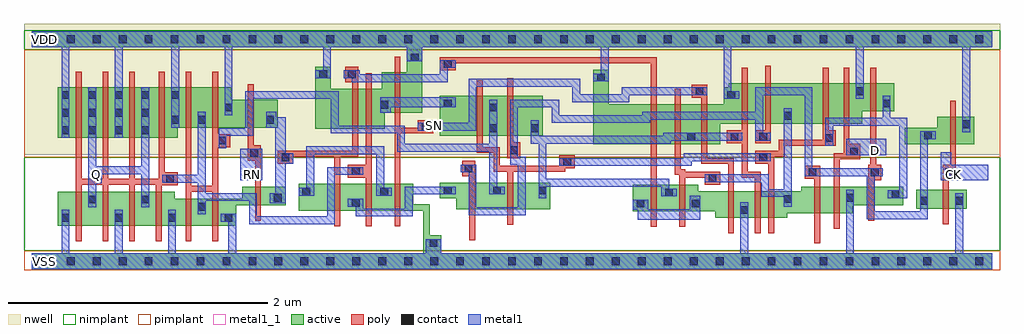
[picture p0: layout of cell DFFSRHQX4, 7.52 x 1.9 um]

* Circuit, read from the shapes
.subckt DFFSRHQX4 CK D Q RN SN VDD VSS
M1 Q n1 VSS VSS nfet w=0.26u l=0.045u m=4
M2 n1 n2 VSS VSS nfet w=0.205u l=0.045u m=2
M3 n3 RN VSS VSS nfet w=0.145u l=0.045u
M4 n4 n3 n5 VSS nfet w=0.205u l=0.045u
M5 n5 n1 n4 VSS nfet w=0.205u l=0.045u
M6 VSS SN n5 VSS nfet w=0.205u l=0.045u
M7 n2 n6 n4 VSS nfet w=0.205u l=0.045u
M8 n7 n8 n2 VSS nfet w=0.205u l=0.045u
M9 n7 n3 n9 VSS nfet w=0.205u l=0.045u
M10 n9 n10 n7 VSS nfet w=0.205u l=0.045u
M11 VSS SN n9 VSS nfet w=0.205u l=0.045u
M12 n11 n7 VSS VSS nfet w=0.205u l=0.045u
M13 n10 n8 n11 VSS nfet w=0.205u l=0.045u
M14 n12 n6 n10 VSS nfet w=0.205u l=0.045u
M15 VSS D n12 VSS nfet w=0.205u l=0.045u
M16 n8 n6 VSS VSS nfet w=0.145u l=0.045u
M17 VSS CK n6 VSS nfet w=0.145u l=0.045u
M18 Q n1 VDD VDD pfet w=0.39u l=0.045u m=4
M19 n1 n2 VDD VDD pfet w=0.31u l=0.045u m=2
M20 n3 RN VDD VDD pfet w=0.215u l=0.045u
M21 n13 n3 VDD VDD pfet w=0.31u l=0.045u
M22 n14 n1 n13 VDD pfet w=0.31u l=0.045u
M23 VDD SN n14 VDD pfet w=0.31u l=0.045u
M24 n2 n8 n14 VDD pfet w=0.31u l=0.045u
M25 n7 n6 n2 VDD pfet w=0.31u l=0.045u
M26 n15 n3 VDD VDD pfet w=0.31u l=0.045u
M27 n7 n10 n15 VDD pfet w=0.31u l=0.045u
M28 VDD SN n7 VDD pfet w=0.31u l=0.045u
M29 n16 n7 VDD VDD pfet w=0.31u l=0.045u
M30 n10 n6 n16 VDD pfet w=0.31u l=0.045u
M31 n17 n8 n10 VDD pfet w=0.31u l=0.045u
M32 VDD D n17 VDD pfet w=0.31u l=0.045u
M33 n8 n6 VDD VDD pfet w=0.215u l=0.045u
M34 VDD CK n6 VDD pfet w=0.215u l=0.045u
.ends

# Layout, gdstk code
import gdstk
lib = gdstk.Library(unit=1e-6, precision=5e-10)
def R(c, l, rs):  # rectangles x0, y0, x1, y1
    for r in rs: c.add(gdstk.rectangle(r[:2], r[2:], *l))
def A(c, l, x, y, w, h, nx, ny, dx, dy):  # array of equal rectangles
    R(c, l, [(x+i*dx, y+j*dy, x+i*dx+w, y+j*dy+h) for i in range(nx) for j in range(ny)])
def P(c, l, *ps):  # polygons
    for p in ps: c.add(gdstk.Polygon(p, *l))
active = (1, 0)
nwell = (2, 0)
poly = (3, 0)
nimplant = (4, 0)
pimplant = (5, 0)
contact = (6, 0)
metal1 = (7, 0)
metal1_1 = (7, 1)

dffsrhqx4 = lib.new_cell('DFFSRHQX4')
R(dffsrhqx4, active, [(6.815,0.405,7.205,0.55), (3.145,0.965,3.935,1.275)])
P(dffsrhqx4, active, [(0,1.77),(7.4,1.77),(7.4,1.65),(3.01,1.65),(3.01,1.145),(2.72,1.145),(2.72,1.02),(2.185,1.02),(2.185,1.5),(2.305,1.5),(2.305,1.33),(2.695,1.33),(2.695,1.455),(2.89,1.455),(2.89,1.65),(0,1.65)],
  [(0.2,1.34),(1.535,1.34),(1.535,1.245),(1.895,1.245),(1.895,1.03),(1.125,1.03),(1.125,0.95),(0.2,0.95)],
  [(4.325,1.475),(4.445,1.475),(4.445,1.21),(5.33,1.21),(5.33,1.34),(5.37,1.34),(5.37,1.37),(6.645,1.37),(6.645,1.155),(6.4,1.155),(6.4,1.06),(5.305,1.06),(5.305,0.9),(4.325,0.9)],
  [(6.975,1.115),(7.26,1.115),(7.26,0.9),(6.725,0.9),(6.725,1.03),(6.975,1.03)],
  [(0.2,0.535),(1.1,0.535),(1.1,0.48),(1.62,0.48),(1.62,0.575),(1.955,0.575),(1.955,0.43),(1.575,0.43),(1.575,0.275),(0.2,0.275)],
  [(2.055,0.595),(2.94,0.595),(2.94,0.44),(3.065,0.44),(3.065,0.2),(3.155,0.2),(3.155,0.06),(7.4,0.06),(7.4,-0.06),(0,-0.06),(0,0.06),(3.015,0.06),(3.015,0.39),(2.055,0.39)],
  [(3.145,0.605),(3.995,0.605),(3.995,0.4),(3.27,0.4),(3.27,0.485),(3.145,0.485)],
  [(4.63,0.59),(5.135,0.59),(5.135,0.54),(5.93,0.54),(5.93,0.575),(6.715,0.575),(6.715,0.43),(6.325,0.43),(6.325,0.37),(5.82,0.37),(5.82,0.335),(5.265,0.335),(5.265,0.385),(4.63,0.385)])
R(dffsrhqx4, nwell, [(-0.06,0.82,7.46,1.83)])
P(dffsrhqx4, poly, [(2.415,1.5),(2.515,1.5),(2.515,0.805),(2.375,0.805),(2.375,0.27),(2.33,0.27),(2.33,0.805),(2.015,0.805),(2.015,0.75),(1.895,0.75),(1.895,0.85),(2.47,0.85),(2.47,1.38),(2.415,1.38)],
  [(0.34,1.46),(0.385,1.46),(0.385,0.635),(0.545,0.635),(0.545,1.46),(0.59,1.46),(0.59,0.635),(0.75,0.635),(0.75,1.46),(0.795,1.46),(0.795,0.635),(0.98,0.635),(0.98,1.46),(1.025,1.46),(1.025,0.685),(1.125,0.685),(1.125,0.585),(1,0.585),(1,0.155),(0.955,0.155),(0.955,0.59),(0.795,0.59),(0.795,0.155),(0.75,0.155),(0.75,0.59),(0.59,0.59),(0.59,0.155),(0.545,0.155),(0.545,0.59),(0.385,0.59),(0.385,0.155),(0.34,0.155)],
  [(1.185,1.46),(1.23,1.46),(1.23,0.58),(1.39,0.58),(1.39,1.46),(1.435,1.46),(1.435,0.98),(1.53,0.98),(1.53,0.88),(1.435,0.88),(1.435,0.155),(1.39,0.155),(1.39,0.535),(1.23,0.535),(1.23,0.155),(1.185,0.155)],
  [(2.795,1.575),(2.84,1.575),(2.84,1.03),(2.975,1.03),(2.975,1.085),(3.095,1.085),(3.095,0.985),(2.84,0.985),(2.84,0.27),(2.795,0.27)],
  [(3.145,1.57),(4.815,1.57),(4.815,0.265),(4.77,0.265),(4.77,1.525),(3.265,1.525),(3.265,1.47),(3.145,1.47)],
  [(1.665,1.365),(1.71,1.365),(1.71,0.895),(1.765,0.895),(1.765,0.31),(1.72,0.31),(1.72,0.775),(1.665,0.775)],
  [(2.575,1.45),(2.62,1.45),(2.62,0.27),(2.575,0.27),(2.575,0.645),(2.435,0.645),(2.435,0.745),(2.575,0.745)],
  [(5.085,1.36),(5.205,1.36),(5.205,0.795),(5.41,0.795),(5.41,0.215),(5.365,0.215),(5.365,0.75),(5.16,0.75),(5.16,1.26),(5.085,1.26)],
  [(3.43,1.395),(3.475,1.395),(3.475,0.88),(3.605,0.88),(3.605,0.735),(4.065,0.735),(4.065,0.815),(4.185,0.815),(4.185,0.715),(4.11,0.715),(4.11,0.69),(3.71,0.69),(3.71,0.28),(3.665,0.28),(3.665,0.69),(3.56,0.69),(3.56,0.835),(3.43,0.835)],
  [(3.665,1.41),(3.71,1.41),(3.71,0.915),(3.765,0.915),(3.765,0.795),(3.665,0.795)],
  [(4.955,1.33),(5,1.33),(5,0.71),(5.035,0.71),(5.035,0.69),(5.305,0.69),(5.305,0.59),(5.185,0.59),(5.185,0.645),(5.035,0.645),(5.035,0.265),(4.99,0.265),(4.99,0.665),(4.955,0.665)],
  [(5.47,1.49),(5.515,1.49),(5.515,0.69),(5.615,0.69),(5.615,0.215),(5.57,0.215),(5.57,0.645),(5.47,0.645),(5.47,0.91),(5.355,0.91),(5.355,1.01),(5.47,1.01)],
  [(5.65,1.505),(5.695,1.505),(5.695,0.91),(5.575,0.91),(5.575,1.01),(5.65,1.01)],
  [(6.095,1.49),(6.14,1.49),(6.14,1.01),(6.195,1.01),(6.195,0.89),(5.8,0.89),(5.8,0.805),(5.72,0.805),(5.72,0.215),(5.675,0.215),(5.675,0.75),(5.575,0.75),(5.575,0.85),(5.755,0.85),(5.755,0.935),(6.095,0.935)],
  [(6.255,1.49),(6.3,1.49),(6.3,0.905),(6.385,0.905),(6.385,0.785),(6.225,0.785),(6.225,0.25),(6.18,0.25),(6.18,0.83),(6.255,0.83)],
  [(6.46,1.49),(6.505,1.49),(6.505,0.745),(6.545,0.745),(6.545,0.625),(6.49,0.625),(6.49,0.31),(6.445,0.31),(6.445,0.745),(6.46,0.745)],
  [(7.075,1.235),(7.12,1.235),(7.12,0.625),(7.065,0.625),(7.065,0.285),(7.02,0.285),(7.02,0.745),(7.075,0.745)],
  [(3.315,0.775),(3.415,0.775),(3.415,0.16),(3.37,0.16),(3.37,0.655),(3.315,0.655)],
  [(5.955,0.735),(6.075,0.735),(6.075,0.14),(6.03,0.14),(6.03,0.635),(5.955,0.635)])
R(dffsrhqx4, nimplant, [(-0.06,0.08,7.46,0.8), (-0.06,1.63,7.46,1.78)])
R(dffsrhqx4, pimplant, [(-0.06,-0.07,7.46,0.08), (-0.06,0.8,7.46,1.63)])
A(dffsrhqx4, contact, 0.07, -0.03, 0.06, 0.06, 37, 2, 0.2, 1.71)
A(dffsrhqx4, contact, 0.23, 0.305, 0.06, 0.06, 3, 1, 0.41, 0)
A(dffsrhqx4, contact, 0.23, 0.98, 0.06, 0.06, 4, 3, 0.205, 0.135)
R(dffsrhqx4, contact, [(3.065,0.11,3.125,0.17), (1.485,0.305,1.545,0.365), (5.46,0.365,5.52,0.425), (1.28,0.39,1.34,0.45), (4.66,0.415,4.72,0.475), (5.085,0.415,5.145,0.475), (2.465,0.42,2.525,0.48), (6.845,0.435,6.905,0.495), (7.115,0.435,7.175,0.495), (0.435,0.445,0.495,0.505), (0.845,0.445,0.905,0.505), (5.795,0.45,5.855,0.51), (1.865,0.46,1.925,0.52), (6.275,0.46,6.335,0.52), (6.625,0.485,6.685,0.545), (4.88,0.5,4.94,0.56), (2.085,0.505,2.145,0.565), (2.685,0.505,2.745,0.565), (3.175,0.515,3.235,0.575), (3.555,0.515,3.615,0.575), (3.905,0.515,3.965,0.575), (1.035,0.605,1.095,0.665), (5.215,0.61,5.275,0.67), (5.985,0.655,6.045,0.715), (6.465,0.655,6.525,0.715), (7.04,0.655,7.1,0.715), (2.465,0.665,2.525,0.725), (3.335,0.685,3.395,0.745), (4.095,0.735,4.155,0.795), (1.925,0.77,1.985,0.83), (5.605,0.77,5.665,0.83), (1.685,0.805,1.745,0.865), (6.305,0.815,6.365,0.875), (3.685,0.825,3.745,0.885), (1.44,0.9,1.5,0.96), (6.115,0.92,6.175,0.98), (5.05,0.93,5.11,0.99), (5.385,0.93,5.445,0.99), (5.605,0.93,5.665,0.99), (6.875,0.94,6.935,1), (3.525,0.995,3.585,1.055), (3.845,0.995,3.905,1.055), (3.005,1.005,3.065,1.065), (7.17,1.025,7.23,1.085), (1.075,1.06,1.135,1.12), (1.28,1.06,1.34,1.12), (1.805,1.06,1.865,1.12), (5.795,1.09,5.855,1.15), (1.485,1.155,1.545,1.215), (3.525,1.155,3.585,1.215), (2.685,1.175,2.745,1.235), (3.175,1.185,3.235,1.245), (6.555,1.185,6.615,1.245), (1.075,1.25,1.135,1.31), (5.36,1.25,5.42,1.31), (5.115,1.28,5.175,1.34), (6.35,1.28,6.41,1.34), (4.355,1.385,4.415,1.445), (2.215,1.41,2.275,1.47), (2.435,1.41,2.495,1.47), (3.175,1.49,3.235,1.55), (2.92,1.54,2.98,1.6)])
R(dffsrhqx4, metal1, [(1.605,0.625,1.775,0.865), (6.275,0.815,6.585,0.945)])
P(dffsrhqx4, metal1, [(0,1.77),(7.4,1.77),(7.4,1.65),(7.23,1.65),(7.23,0.995),(7.17,0.995),(7.17,1.65),(6.41,1.65),(6.41,1.25),(6.35,1.25),(6.35,1.65),(5.39,1.65),(5.39,1.31),(5.45,1.31),(5.45,1.25),(5.33,1.25),(5.33,1.65),(4.445,1.65),(4.445,1.385),(4.325,1.385),(4.325,1.445),(4.385,1.445),(4.385,1.65),(3.01,1.65),(3.01,1.54),(2.89,1.54),(2.89,1.65),(2.305,1.65),(2.305,1.41),(2.185,1.41),(2.185,1.47),(2.245,1.47),(2.245,1.65),(1.545,1.65),(1.545,1.125),(1.485,1.125),(1.485,1.65),(1.135,1.65),(1.135,1.03),(1.075,1.03),(1.075,1.65),(0.7,1.65),(0.7,0.95),(0.64,0.95),(0.64,1.65),(0.29,1.65),(0.29,0.95),(0.23,0.95),(0.23,1.65),(0,1.65)],
  [(0.435,1.34),(0.495,1.34),(0.495,0.73),(0.845,0.73),(0.845,1.34),(0.905,1.34),(0.905,0.415),(0.845,0.415),(0.845,0.67),(0.54,0.67),(0.54,0.6),(0.495,0.6),(0.495,0.415),(0.435,0.415)],
  [(1.28,1.15),(1.34,1.15),(1.34,0.525),(1.735,0.525),(1.735,0.345),(2.275,0.345),(2.275,0.725),(2.555,0.725),(2.555,0.665),(2.335,0.665),(2.335,0.285),(1.675,0.285),(1.675,0.465),(1.34,0.465),(1.34,0.36),(1.28,0.36),(1.28,0.605),(1.005,0.605),(1.005,0.665),(1.28,0.665)],
  [(3.145,1.55),(3.265,1.55),(3.265,1.49),(3.205,1.49),(3.205,1.38),(2.465,1.38),(2.465,1.41),(2.405,1.41),(2.405,1.47),(2.525,1.47),(2.525,1.44),(3.145,1.44)],
  [(3.365,1.405),(4.225,1.405),(4.225,1.285),(4.545,1.285),(4.545,1.34),(5.205,1.34),(5.205,1.28),(4.605,1.28),(4.605,1.225),(4.165,1.225),(4.165,1.345),(3.425,1.345),(3.425,1.005),(2.975,1.005),(2.975,1.065),(3.035,1.065),(3.035,1.085),(3.165,1.085),(3.165,1.065),(3.365,1.065)],
  [(1.645,1.31),(2.365,1.31),(2.365,1.045),(2.875,1.045),(2.875,0.905),(3.525,0.905),(3.525,1.245),(3.585,1.245),(3.585,0.575),(3.645,0.575),(3.645,0.515),(3.525,0.515),(3.525,0.845),(2.815,0.845),(2.815,0.985),(2.305,0.985),(2.305,1.25),(1.705,1.25),(1.705,0.965),(1.5,0.965),(1.5,0.87),(1.44,0.87),(1.44,1.025),(1.645,1.025)],
  [(1.805,1.15),(1.885,1.15),(1.885,1.11),(1.955,1.11),(1.955,0.83),(2.015,0.83),(2.015,0.75),(1.955,0.75),(1.955,0.445),(1.835,0.445),(1.835,0.525),(1.875,0.525),(1.875,1.03),(1.805,1.03)],
  [(2.685,1.265),(3.265,1.265),(3.265,1.185),(2.765,1.185),(2.765,1.145),(2.685,1.145)],
  [(0.23,0.395),(0.29,0.395),(0.29,0.06),(0.64,0.06),(0.64,0.395),(0.7,0.395),(0.7,0.06),(1.05,0.06),(1.05,0.395),(1.11,0.395),(1.11,0.06),(1.515,0.06),(1.515,0.305),(1.455,0.305),(1.455,0.365),(1.575,0.365),(1.575,0.06),(3.035,0.06),(3.035,0.17),(3.155,0.17),(3.155,0.06),(5.46,0.06),(5.46,0.455),(5.52,0.455),(5.52,0.06),(6.275,0.06),(6.275,0.55),(6.335,0.55),(6.335,0.06),(7.115,0.06),(7.115,0.525),(7.175,0.525),(7.175,0.06),(7.4,0.06),(7.4,-0.06),(0,-0.06),(0,0.06),(0.23,0.06)],
  [(2.115,0.885),(2.715,0.885),(2.715,0.565),(2.775,0.565),(2.775,0.505),(2.655,0.505),(2.655,0.825),(2.175,0.825),(2.175,0.505),(2.055,0.505),(2.055,0.565),(2.115,0.565)],
  [(5.575,1.34),(6.015,1.34),(6.015,0.715),(6.555,0.715),(6.555,0.655),(6.495,0.655),(6.495,0.385),(6.845,0.385),(6.845,1),(6.965,1),(6.965,0.94),(6.905,0.94),(6.905,0.325),(6.435,0.325),(6.435,0.655),(5.955,0.655),(5.955,1.28),(5.635,1.28),(5.635,0.99),(5.695,0.99),(5.695,0.93),(5.575,0.93),(5.575,1.09),(4.765,1.09),(4.765,1.065),(4.005,1.065),(4.005,1.185),(3.745,1.185),(3.745,0.805),(3.805,0.805),(3.805,0.355),(3.365,0.355),(3.365,0.685),(3.305,0.685),(3.305,0.745),(3.425,0.745),(3.425,0.415),(3.745,0.415),(3.745,0.745),(3.685,0.745),(3.685,1.245),(4.065,1.245),(4.065,1.125),(4.705,1.125),(4.705,1.15),(5.575,1.15)],
  [(2.875,0.575),(3.265,0.575),(3.265,0.515),(2.935,0.515),(2.935,0.345),(2.495,0.345),(2.495,0.42),(2.435,0.42),(2.435,0.48),(2.555,0.48),(2.555,0.405),(2.875,0.405)],
  [(3.845,1.085),(3.905,1.085),(3.905,0.965),(4.865,0.965),(4.865,0.99),(5.475,0.99),(5.475,0.93),(4.925,0.93),(4.925,0.905),(3.965,0.905),(3.965,0.635),(4.91,0.635),(4.91,0.56),(4.97,0.56),(4.97,0.5),(4.85,0.5),(4.85,0.575),(3.965,0.575),(3.965,0.485),(3.905,0.485),(3.905,0.905),(3.845,0.905)],
  [(5.185,0.67),(5.68,0.67),(5.68,0.555),(5.795,0.555),(5.795,1.18),(5.855,1.18),(5.855,0.42),(5.795,0.42),(5.795,0.495),(5.62,0.495),(5.62,0.61),(5.185,0.61)],
  [(5.025,0.83),(5.695,0.83),(5.695,0.77),(5.085,0.77),(5.085,0.735),(4.065,0.735),(4.065,0.795),(5.025,0.795)],
  [(6.555,1.275),(6.615,1.275),(6.615,1.105),(6.745,1.105),(6.745,0.485),(6.595,0.485),(6.595,0.545),(6.685,0.545),(6.685,1.045),(6.175,1.045),(6.175,0.89),(6.115,0.89),(6.115,1.105),(6.555,1.105)],
  [(4.63,0.475),(4.75,0.475),(4.75,0.4),(5.07,0.4),(5.07,0.505),(5.15,0.505),(5.15,0.32),(4.67,0.32),(4.67,0.395),(4.63,0.395)],
  [(7.005,0.84),(7.085,0.84),(7.085,0.745),(7.37,0.745),(7.37,0.625),(7.005,0.625)])
R(dffsrhqx4, metal1_1, [(0.06,-0.04,0.14,0.04), (0.46,0.625,0.54,0.705), (1.66,0.625,1.74,0.705), (7.06,0.625,7.14,0.705), (6.46,0.815,6.54,0.895), (3.06,1.005,3.14,1.085), (0.06,1.67,0.14,1.75)])
dffsrhqx4.add(gdstk.Label('SN', (3.1,1.045), layer=7, texttype=1))
dffsrhqx4.add(gdstk.Label('CK', (7.1,0.665), layer=7, texttype=1))
dffsrhqx4.add(gdstk.Label('D', (6.5,0.855), layer=7, texttype=1))
dffsrhqx4.add(gdstk.Label('RN', (1.7,0.665), layer=7, texttype=1))
dffsrhqx4.add(gdstk.Label('Q', (0.5,0.665), layer=7, texttype=1))
dffsrhqx4.add(gdstk.Label('VDD', (0.1,1.71), layer=7, texttype=1))
dffsrhqx4.add(gdstk.Label('VSS', (0.1,0), layer=7, texttype=1))
dffsrhqx4.add(gdstk.Label('DFFSRHQX4', (0,0), layer=63, texttype=0))

lib.write_gds('DFFSRHQX4.gds')
